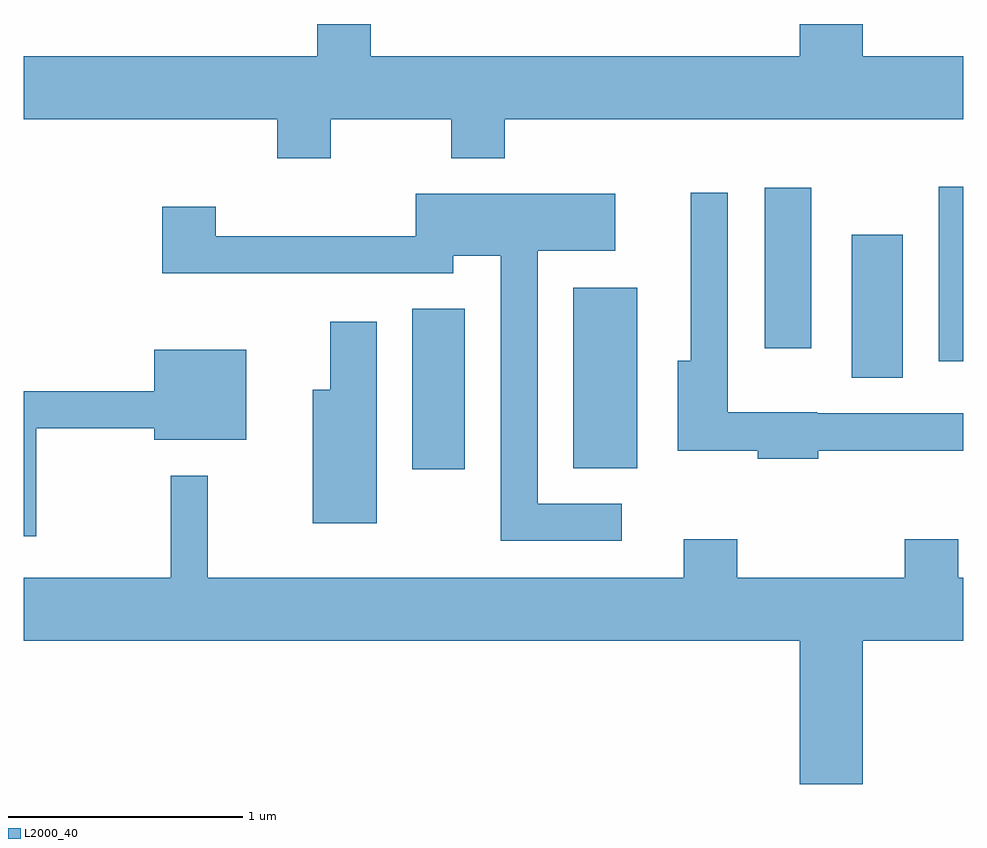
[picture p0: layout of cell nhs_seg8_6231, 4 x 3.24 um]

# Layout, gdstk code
import gdstk
lib = gdstk.Library(unit=1e-6, precision=1e-09)
def R(c, l, rs):  # rectangles x0, y0, x1, y1
    for r in rs: c.add(gdstk.rectangle(r[:2], r[2:], *l))
def P(c, l, *ps):  # polygons
    for p in ps: c.add(gdstk.Polygon(p, *l))
L2000_40 = (2000, 40)

nhs_seg8_6231 = lib.new_cell('nhs_seg8_6231')
R(nhs_seg8_6231, L2000_40, [(373.266,1870.446,373.489,1871.129), (373.951,1870.451,374.224,1871.219), (375.136,1870.836,375.354,1871.444), (375.506,1870.906,375.611,1871.649), (374.766,1870.961,374.964,1871.644)])
P(nhs_seg8_6231, L2000_40, [(372.919,1871.936),(373.431,1871.936),(373.431,1871.771),(373.659,1871.771),(373.659,1871.936),(375.611,1871.936),(375.611,1872.204),(375.184,1872.204),(375.184,1872.342),(374.916,1872.342),(374.916,1872.204),(373.089,1872.204),(373.089,1872.342),(372.861,1872.342),(372.861,1872.204),(371.611,1872.204),(371.611,1871.936),(372.691,1871.936),(372.691,1871.771),(372.919,1871.771)],
  [(374.994,1870.526),(375.611,1870.526),(375.611,1870.684),(374.99,1870.684),(374.99,1870.689),(374.609,1870.689),(374.609,1871.623),(374.451,1871.623),(374.451,1870.909),(374.396,1870.909),(374.396,1870.526),(374.736,1870.526),(374.736,1870.491),(374.994,1870.491)],
  [(374.158,1870.299),(373.799,1870.299),(373.799,1871.376),(374.129,1871.376),(374.129,1871.619),(373.281,1871.619),(373.281,1871.439),(372.429,1871.439),(372.429,1871.564),(372.201,1871.564),(372.201,1871.281),(373.439,1871.281),(373.439,1871.356),(373.641,1871.356),(373.641,1870.141),(374.158,1870.141)],
  [(373.114,1871.074),(372.916,1871.074),(372.916,1870.784),(372.841,1870.784),(372.841,1870.216),(373.114,1870.216)],
  [(371.664,1870.621),(372.166,1870.621),(372.166,1870.571),(372.559,1870.571),(372.559,1870.954),(372.166,1870.954),(372.166,1870.779),(371.611,1870.779),(371.611,1870.161),(371.664,1870.161)],
  [(375.184,1869.716),(375.611,1869.716),(375.611,1869.984),(375.589,1869.984),(375.589,1870.149),(375.361,1870.149),(375.361,1869.984),(374.649,1869.984),(374.649,1870.149),(374.421,1870.149),(374.421,1869.984),(372.394,1869.984),(372.394,1870.418),(372.236,1870.418),(372.236,1869.984),(371.611,1869.984),(371.611,1869.716),(374.916,1869.716),(374.916,1869.106),(375.184,1869.106)])

lib.write_gds('nhs_seg8_6231.gds')
